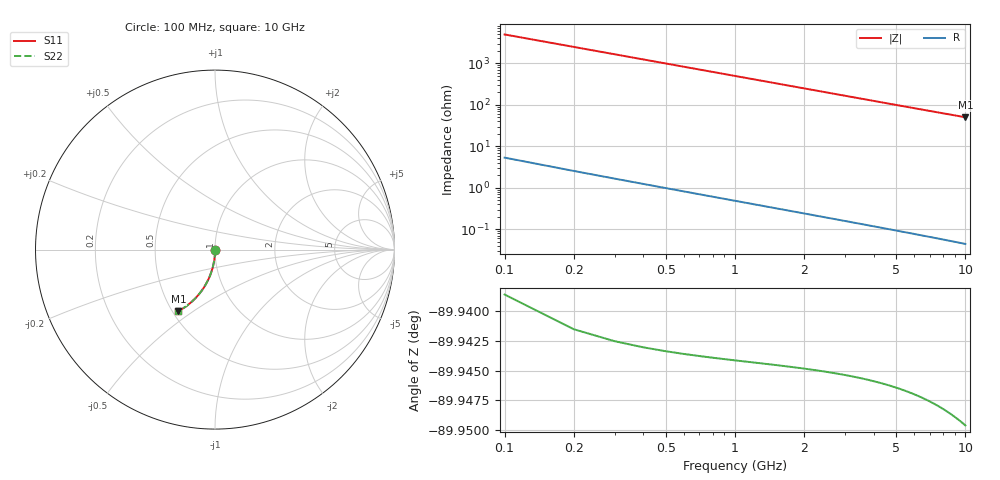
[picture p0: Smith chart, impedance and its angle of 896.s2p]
# Hz S RI R 50.00
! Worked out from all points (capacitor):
!   100 points, 100 MHz to 10 GHz, reference 50 ohm
!   read as one part in shunt: C = 319 fF near 100 MHz
!   lowest |Z| = 50.4 ohm at 10 GHz (marker M1)
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1e8  0.000156 -0.00439  0.9998 -0.00562  0.9998 -0.00562  0.000156 -0.00439
2e8  7.87e-05 -0.00878  0.9997 -0.0112  0.9997 -0.0112  7.87e-05 -0.00878
3e8  -4.85e-05 -0.0132  0.9996 -0.0168  0.9996 -0.0168  -4.85e-05 -0.0132
4e8  -0.000225 -0.0176  0.9994 -0.0225  0.9994 -0.0225  -0.000225 -0.0176
5e8  -0.000451 -0.0219  0.9992 -0.0281  0.9992 -0.0281  -0.000451 -0.0219
6e8  -0.000726 -0.0263  0.9989 -0.0337  0.9989 -0.0337  -0.000726 -0.0263
7e8  -0.00105 -0.0307  0.9985 -0.0393  0.9985 -0.0393  -0.00105 -0.0307
8e8  -0.00142 -0.0351  0.9981 -0.0449  0.9981 -0.0449  -0.00142 -0.0351
9e8  -0.00185 -0.0394  0.9977 -0.0505  0.9977 -0.0505  -0.00185 -0.0394
1.1e9  -0.00284 -0.0482  0.9967 -0.0616  0.9967 -0.0616  -0.00284 -0.0482
1.4e9  -0.00469 -0.0612  0.9948 -0.0784  0.9948 -0.0784  -0.00469 -0.0612
1.8e9  -0.00784 -0.0784  0.9915 -0.1005  0.9915 -0.1005  -0.00784 -0.0784
2.1e9  -0.0107 -0.0912  0.9886 -0.117  0.9886 -0.117  -0.0107 -0.0912
2.5e9  -0.0152 -0.1081  0.984 -0.1388  0.984 -0.1388  -0.0152 -0.1081
2.9e9  -0.0204 -0.1247  0.9786 -0.1603  0.9786 -0.1603  -0.0204 -0.1247
3.4e9  -0.0279 -0.1451  0.9708 -0.1869  0.9708 -0.1869  -0.0279 -0.1451
4.2e9  -0.0421 -0.1764  0.9562 -0.2282  0.9562 -0.2282  -0.0421 -0.1764
5.1e9  -0.0611 -0.2097  0.9365 -0.2726  0.9365 -0.2726  -0.0611 -0.2097
5.9e9  -0.0804 -0.2373  0.9165 -0.3102  0.9165 -0.3102  -0.0804 -0.2373
6.7e9  -0.1016 -0.2627  0.8945 -0.3456  0.8945 -0.3456  -0.1016 -0.2627
8.4e9  -0.1519 -0.3091  0.8421 -0.4135  0.8421 -0.4135  -0.1519 -0.3091
1e10  -0.2037 -0.3428  0.788 -0.4677  0.788 -0.4677  -0.2037 -0.3428
